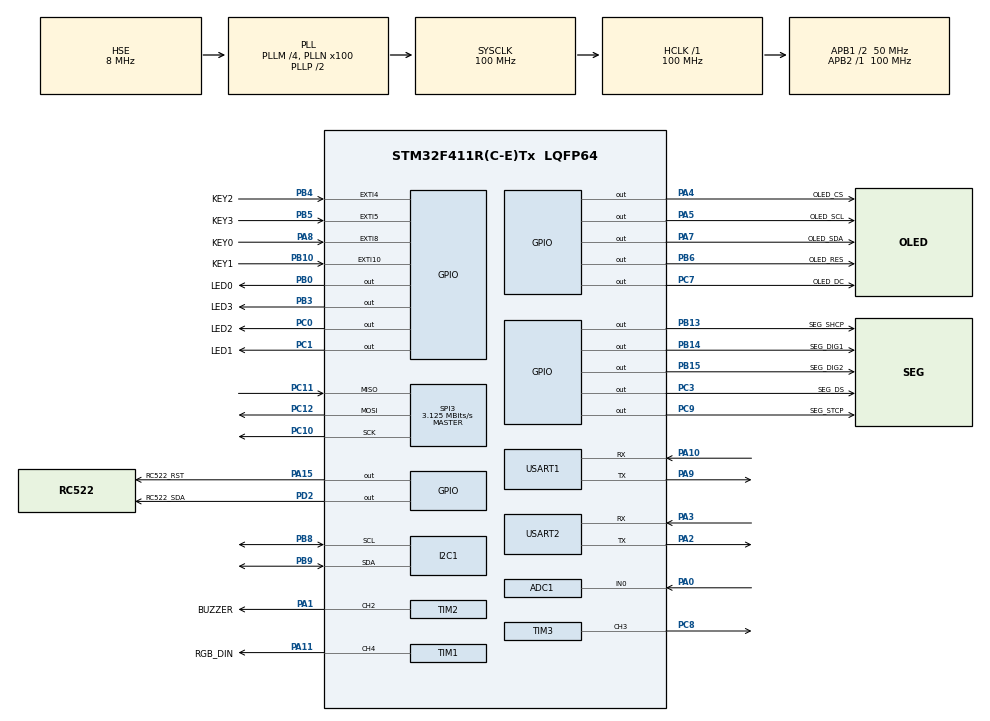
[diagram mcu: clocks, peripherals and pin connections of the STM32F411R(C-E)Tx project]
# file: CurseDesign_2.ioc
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ADC1.Channel-3\#ChannelRegularConversion=ADC_CHANNEL_0
ADC1.ContinuousConvMode=ENABLE
ADC1.DMAContinuousRequests=ENABLE
ADC1.NbrOfConversionFlag=1
ADC1.Rank-3\#ChannelRegularConversion=1
ADC1.SamplingTime-3\#ChannelRegularConversion=ADC_SAMPLETIME_480CYCLES
ADC1.master=1
Dma.ADC1.1.Direction=DMA_PERIPH_TO_MEMORY
Dma.ADC1.1.FIFOMode=DMA_FIFOMODE_DISABLE
Dma.ADC1.1.Instance=DMA2_Stream0
Dma.ADC1.1.MemDataAlignment=DMA_MDATAALIGN_HALFWORD
Dma.ADC1.1.MemInc=DMA_MINC_ENABLE
Dma.ADC1.1.Mode=DMA_CIRCULAR
Dma.ADC1.1.PeriphDataAlignment=DMA_PDATAALIGN_HALFWORD
Dma.ADC1.1.PeriphInc=DMA_PINC_DISABLE
Dma.ADC1.1.Priority=DMA_PRIORITY_LOW
Dma.Request0=TIM1_CH4/TRIG/COM
Dma.Request1=ADC1
Dma.TIM1_CH4/TRIG/COM.0.Direction=DMA_MEMORY_TO_PERIPH
Dma.TIM1_CH4/TRIG/COM.0.FIFOMode=DMA_FIFOMODE_DISABLE
Dma.TIM1_CH4/TRIG/COM.0.Instance=DMA2_Stream4
Dma.TIM1_CH4/TRIG/COM.0.MemDataAlignment=DMA_MDATAALIGN_HALFWORD
Dma.TIM1_CH4/TRIG/COM.0.MemInc=DMA_MINC_ENABLE
Dma.TIM1_CH4/TRIG/COM.0.Mode=DMA_NORMAL
Dma.TIM1_CH4/TRIG/COM.0.PeriphDataAlignment=DMA_PDATAALIGN_HALFWORD
Dma.TIM1_CH4/TRIG/COM.0.PeriphInc=DMA_PINC_DISABLE
Dma.TIM1_CH4/TRIG/COM.0.Priority=DMA_PRIORITY_VERY_HIGH
FREERTOS.Queues01=q_SensorData,5,16,1,Dynamic,NULL,NULL;q_BuzzerData,5,12,1,Dynamic,NULL,NULL;q_ServoCmd,3,uint8_t,0,Dynamic,NULL,NULL;q_RGBCmd,4,8,1,Dynamic,NULL,NULL;q_Keypad,4,1,1,Dynamic,NULL,NULL
FREERTOS.Tasks01=defaultTask,24,128,StartDefaultTask,Default,NULL,Dynamic,NULL,NULL;Task_Sensor,24,256,StartTask_Sensor,Default,NULL,Dynamic,NULL,NULL;Task_OLED,24,256,StartTask_OLED,Default,NULL,Dynamic,NULL,NULL;Task_SEG,24,256,StartTask_SEG,Default,NULL,Dynamic,NULL,NULL;Task_Logic,24,512,StartTask_Logic,Default,NULL,Dynamic,NULL,NULL;Task_Buzzer,24,128,StartTask_Buzzer,Default,NULL,Dynamic,NULL,NULL;Task_Servo,8,128,StartTask_Servo,Default,NULL,Dynamic,NULL,NULL;Task_RGB,8,128,StartTask_RGB,Default,NULL,Dynamic,NULL,NULL
IWDG.Prescaler=IWDG_PRESCALER_64
Mcu.Family=STM32F4
Mcu.Name=STM32F411R(C-E)Tx
Mcu.Package=LQFP64
NVIC.DMA2_Stream0_IRQn=true\:5\:0\:false\:false\:true\:true\:false\:true\:true
NVIC.DMA2_Stream4_IRQn=true\:5\:0\:false\:false\:true\:true\:false\:true\:true
NVIC.EXTI15_10_IRQn=true\:5\:0\:false\:false\:true\:true\:true\:true\:true
NVIC.EXTI4_IRQn=true\:5\:0\:false\:false\:true\:true\:true\:true\:true
NVIC.EXTI9_5_IRQn=true\:5\:0\:false\:false\:true\:true\:true\:true\:true
NVIC.PriorityGroup=NVIC_PRIORITYGROUP_4
NVIC.TIM1_UP_TIM10_IRQn=true\:15\:0\:false\:false\:true\:false\:false\:true\:true
NVIC.TimeBase=TIM1_UP_TIM10_IRQn
NVIC.TimeBaseIP=TIM10
PA0-WKUP.Signal=ADCx_IN0
PA1.GPIO_Label=BUZZER
PA1.Signal=S_TIM2_CH2
PA10.Mode=Asynchronous
PA10.Signal=USART1_RX
PA11.GPIO_Label=RGB_DIN
PA11.GPIO_Speed=GPIO_SPEED_FREQ_VERY_HIGH
PA11.Signal=S_TIM1_CH4
PA13.Mode=Serial_Wire
PA13.Signal=SYS_JTMS-SWDIO
PA14.Mode=Serial_Wire
PA14.Signal=SYS_JTCK-SWCLK
PA15.GPIO_Label=RC522_RST
PA15.PinState=GPIO_PIN_SET
PA15.Signal=GPIO_Output
PA2.Mode=Asynchronous
PA2.Signal=USART2_TX
PA3.Mode=Asynchronous
PA3.Signal=USART2_RX
PA4.GPIO_Label=OLED_CS
PA4.Signal=GPIO_Output
PA5.GPIO_Label=OLED_SCL
PA5.Signal=GPIO_Output
PA7.GPIO_Label=OLED_SDA
PA7.Signal=GPIO_Output
PA8.GPIO_Label=KEY0
PA8.GPIO_ModeDefaultEXTI=GPIO_MODE_IT_FALLING
PA8.Signal=GPXTI8
PA9.Mode=Asynchronous
PA9.Signal=USART1_TX
PB0.GPIO_Label=LED0
PB0.Signal=GPIO_Output
PB10.GPIO_Label=KEY1
PB10.GPIO_ModeDefaultEXTI=GPIO_MODE_IT_FALLING
PB10.Signal=GPXTI10
PB13.GPIO_Label=SEG_SHCP
PB13.Signal=GPIO_Output
PB14.GPIO_Label=SEG_DIG1
PB14.Signal=GPIO_Output
PB15.GPIO_Label=SEG_DIG2
PB15.Signal=GPIO_Output
PB3.GPIO_Label=LED3
PB3.Signal=GPIO_Output
PB4.GPIO_Label=KEY2
PB4.GPIO_ModeDefaultEXTI=GPIO_MODE_IT_FALLING
PB4.Signal=GPXTI4
PB5.GPIO_Label=KEY3
PB5.GPIO_ModeDefaultEXTI=GPIO_MODE_IT_FALLING
PB5.Signal=GPXTI5
PB6.GPIO_Label=OLED_RES
PB6.Signal=GPIO_Output
PB8.Mode=I2C
PB8.Signal=I2C1_SCL
PB9.Mode=I2C
PB9.Signal=I2C1_SDA
PC0.GPIO_Label=LED2
PC0.Signal=GPIO_Output
PC1.GPIO_Label=LED1
PC1.Signal=GPIO_Output
PC10.Mode=Full_Duplex_Master
PC10.Signal=SPI3_SCK
PC11.Mode=Full_Duplex_Master
PC11.Signal=SPI3_MISO
PC12.Mode=Full_Duplex_Master
PC12.Signal=SPI3_MOSI
PC14-OSC32_IN.Mode=LSE-External-Oscillator
PC14-OSC32_IN.Signal=RCC_OSC32_IN
PC15-OSC32_OUT.Mode=LSE-External-Oscillator
PC15-OSC32_OUT.Signal=RCC_OSC32_OUT
PC3.GPIO_Label=SEG_DS
PC3.Signal=GPIO_Output
PC7.GPIO_Label=OLED_DC
PC7.Signal=GPIO_Output
PC8.Signal=S_TIM3_CH3
PC9.GPIO_Label=SEG_STCP
PC9.Signal=GPIO_Output
PD2.GPIO_Label=RC522_SDA
PD2.GPIO_PuPd=GPIO_NOPULL
PD2.GPIO_Speed=GPIO_SPEED_FREQ_HIGH
PD2.PinState=GPIO_PIN_SET
PD2.Signal=GPIO_Output
PH0\ -\ OSC_IN.Mode=HSE-External-Clock-Source
PH0\ -\ OSC_IN.Signal=RCC_OSC_IN
PH1\ -\ OSC_OUT.Mode=HSE-External-Clock-Source
PH1\ -\ OSC_OUT.Signal=RCC_OSC_OUT
ProjectManager.HeapSize=0x200
ProjectManager.StackSize=0x400
ProjectManager.TargetToolchain=CMake
RCC.48MHZClocksFreq_Value=50000000
RCC.AHBFreq_Value=100000000
RCC.APB1CLKDivider=RCC_HCLK_DIV2
RCC.APB1Freq_Value=50000000
RCC.APB1TimFreq_Value=100000000
RCC.APB2Freq_Value=100000000
RCC.APB2TimFreq_Value=100000000
RCC.CortexFreq_Value=100000000
RCC.HCLKFreq_Value=100000000
RCC.HSE_VALUE=8000000
RCC.HSI_VALUE=16000000
RCC.PLLM=4
RCC.PLLN=100
RCC.PLLSourceVirtual=RCC_PLLSOURCE_HSE
RCC.RCC_RTC_Clock_Source=RCC_RTCCLKSOURCE_LSE
RCC.RCC_RTC_Clock_SourceVirtual=RCC_RTCCLKSOURCE_LSE
RCC.SYSCLKFreq_VALUE=100000000
RCC.SYSCLKSource=RCC_SYSCLKSOURCE_PLLCLK
RCC.VCOOutputFreq_Value=200000000
RTC.Format=RTC_FORMAT_BIN
SH.ADCx_IN0.0=ADC1_IN0,IN0
SH.S_TIM1_CH4.0=TIM1_CH4,PWM Generation4 CH4
SH.S_TIM2_CH2.0=TIM2_CH2,PWM Generation2 CH2
SH.S_TIM3_CH3.0=TIM3_CH3,PWM Generation3 CH3
SPI3.BaudRatePrescaler=SPI_BAUDRATEPRESCALER_16
SPI3.CalculateBaudRate=3.125 MBits/s
SPI3.Direction=SPI_DIRECTION_2LINES
SPI3.Mode=SPI_MODE_MASTER
SPI3.VirtualType=VM_MASTER
TIM1.AutoReloadPreload=TIM_AUTORELOAD_PRELOAD_ENABLE
TIM1.Channel-PWM\ Generation4\ CH4=TIM_CHANNEL_4
TIM1.Period=124
TIM2.AutoReloadPreload=TIM_AUTORELOAD_PRELOAD_ENABLE
TIM2.Channel-PWM\ Generation2\ CH2=TIM_CHANNEL_2
TIM2.Period=999
TIM2.Prescaler=99
TIM3.AutoReloadPreload=TIM_AUTORELOAD_PRELOAD_ENABLE
TIM3.Channel-PWM\ Generation3\ CH3=TIM_CHANNEL_3
TIM3.Period=19999
TIM3.Prescaler=99
TIM3.Pulse-PWM\ Generation3\ CH3=0
USART1.VirtualMode=VM_ASYNC
USART2.VirtualMode=VM_ASYNC
VP_CRC_VS_CRC.Mode=CRC_Activate
VP_FREERTOS_VS_CMSIS_V2.Mode=CMSIS_V2
VP_IWDG_VS_IWDG.Mode=IWDG_Activate
VP_RTC_VS_RTC_Activate.Mode=RTC_Enabled
VP_RTC_VS_RTC_Calendar.Mode=RTC_Calendar
VP_SYS_VS_tim10.Mode=TIM10
VP_TIM1_VS_ClockSourceINT.Mode=Internal
VP_TIM2_VS_ClockSourceINT.Mode=Internal
board=custom

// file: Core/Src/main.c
/* USER CODE BEGIN Header */
/**
  ******************************************************************************
  * @file           : main.c
  * @brief          : Main program body
  ******************************************************************************
  * @attention
  *
  * Copyright (c) 2025 STMicroelectronics.
  * All rights reserved.
  *
  * This software is licensed under terms that can be found in the LICENSE file
  * in the root directory of this software component.
  * If no LICENSE file comes with this software, it is provided AS-IS.
  *
  ******************************************************************************
  */
/* USER CODE END Header */
#include "main.h"
#include "cmsis_os.h"
#include "adc.h"
#include "crc.h"
#include "dma.h"
#include "i2c.h"
#include "iwdg.h"
#include "rtc.h"
#include "spi.h"
#include "tim.h"
#include "usart.h"
#include "gpio.h"

/* USER CODE BEGIN Includes */
#include "app_context.h"
#include "buzzer.h"
/* USER CODE END Includes */

/* USER CODE BEGIN PV */
extern osMessageQueueId_t q_KeypadHandle;
/* USER CODE END PV */

void SystemClock_Config(void);
void MX_FREERTOS_Init(void);

int main(void)
{

  /* MCU Configuration--------------------------------------------------------*/

  /* Reset of all peripherals, Initializes the Flash interface and the Systick. */
  HAL_Init();

  /* Configure the system clock */
  SystemClock_Config();

  /* Initialize all configured peripherals */
  MX_GPIO_Init();
  MX_DMA_Init();
  MX_USART2_UART_Init();
  MX_TIM1_Init();
  MX_ADC1_Init();
  MX_I2C1_Init();
  MX_TIM2_Init();
  MX_SPI3_Init();
  MX_TIM3_Init();
  MX_RTC_Init();
  MX_USART1_UART_Init();
  MX_IWDG_Init();
  MX_CRC_Init();

  /* Init scheduler */
  osKernelInitialize();  /* Call init function for freertos objects (in cmsis_os2.c) */
  MX_FREERTOS_Init();

  /* Start scheduler */
  osKernelStart();

  /* We should never get here as control is now taken by the scheduler */

  /* Infinite loop */
  while (1)
  {

  }
}

void SystemClock_Config(void)
{
  RCC_OscInitTypeDef RCC_OscInitStruct = {0};
  RCC_ClkInitTypeDef RCC_ClkInitStruct = {0};

  /** Configure the main internal regulator output voltage
  */
  __HAL_RCC_PWR_CLK_ENABLE();
  __HAL_PWR_VOLTAGESCALING_CONFIG(PWR_REGULATOR_VOLTAGE_SCALE1);

  /** Initializes the RCC Oscillators according to the specified parameters
  * in the RCC_OscInitTypeDef structure.
  */
  RCC_OscInitStruct.OscillatorType = RCC_OSCILLATORTYPE_LSI|RCC_OSCILLATORTYPE_HSE
                              |RCC_OSCILLATORTYPE_LSE;
  RCC_OscInitStruct.HSEState = RCC_HSE_BYPASS;
  RCC_OscInitStruct.LSEState = RCC_LSE_ON;
  RCC_OscInitStruct.LSIState = RCC_LSI_ON;
  RCC_OscInitStruct.PLL.PLLState = RCC_PLL_ON;
  RCC_OscInitStruct.PLL.PLLSource = RCC_PLLSOURCE_HSE;
  RCC_OscInitStruct.PLL.PLLM = 4;
  RCC_OscInitStruct.PLL.PLLN = 100;
  RCC_OscInitStruct.PLL.PLLP = RCC_PLLP_DIV2;
  RCC_OscInitStruct.PLL.PLLQ = 4;
  if (HAL_RCC_OscConfig(&RCC_OscInitStruct) != HAL_OK)
  {
    Error_Handler();
  }

  /** Initializes the CPU, AHB and APB buses clocks
  */
  RCC_ClkInitStruct.ClockType = RCC_CLOCKTYPE_HCLK|RCC_CLOCKTYPE_SYSCLK
                              |RCC_CLOCKTYPE_PCLK1|RCC_CLOCKTYPE_PCLK2;
  RCC_ClkInitStruct.SYSCLKSource = RCC_SYSCLKSOURCE_PLLCLK;
  RCC_ClkInitStruct.AHBCLKDivider = RCC_SYSCLK_DIV1;
  RCC_ClkInitStruct.APB1CLKDivider = RCC_HCLK_DIV2;
  RCC_ClkInitStruct.APB2CLKDivider = RCC_HCLK_DIV1;

  if (HAL_RCC_ClockConfig(&RCC_ClkInitStruct, FLASH_LATENCY_3) != HAL_OK)
  {
    Error_Handler();
  }
}

/* USER CODE BEGIN 4 */
// 重定向printf
int __io_putchar(int ch) {
  HAL_UART_Transmit(&huart2, (uint8_t *)&ch, 1, HAL_MAX_DELAY);
  return ch;
}

// 可选：重定向scanf
int __io_getchar(void) {
  uint8_t ch = 0;
  HAL_UART_Receive(&huart2, &ch, 1, HAL_MAX_DELAY);
  return ch;
}

/* 这里的逻辑是：按键一按，产生中断，中断里只干一件事——释放信号量 */
void HAL_GPIO_EXTI_Callback(uint16_t GPIO_Pin)
{
  uint8_t key_id = 0xFF; // 无效值

  Buzzer_Send_Cmd(BUZZER_MODE_SINGLE, 500, DEFAULT_SOUND, 100, 0);

  // 判断是哪个引脚触发了中断
  // 注意：这里需要根据你实际的 CubeMX 引脚定义来修改 Pin 的名字
  if (GPIO_Pin == KEY0_Pin) {
    key_id = 0;
  } else if (GPIO_Pin == KEY1_Pin) {
    key_id = 1;
  } else if (GPIO_Pin == KEY2_Pin) {
    key_id = 2;
  } else if (GPIO_Pin == KEY3_Pin) {
    key_id = 3;
  }

  // 如果是有效的按键，发送到队列
  if (key_id != 0xFF && q_KeypadHandle != NULL)
  {
    // 在中断里发送，必须使用 FromISR 版本，且 timeout 必须为 0
    osMessageQueuePut(q_KeypadHandle, &key_id, 0, 0);
  }
}
/* USER CODE END 4 */

void HAL_TIM_PeriodElapsedCallback(TIM_HandleTypeDef *htim)
{
  if (htim->Instance == TIM10)
  {
    HAL_IncTick();
  }
}

void Error_Handler(void)
{
  __disable_irq();
  while (1)
  {
  }
}

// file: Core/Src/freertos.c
/* USER CODE BEGIN Header */
/**
  ******************************************************************************
  * File Name          : freertos.c
  * Description        : Code for freertos applications
  ******************************************************************************
  */
/* USER CODE END Header */

#include "FreeRTOS.h"
#include "task.h"
#include "main.h"
#include "cmsis_os.h"

/* USER CODE BEGIN Includes */
#include "stdio.h"
#include "adc_bsp.h"
#include "lm75.h"
#include "i2c.h"
#include "oled.h"
#include "BSP_LED_SEG.h"
#include "buzzer.h"
#include "app_context.h"
#include "rc522.h"
#include "servo.h"
#include "string.h"
#include "ws2812.h"
#include "rtc_user.h"
#include "global.h"
#include "vtx316.h"
#include "iwdg.h"
#include "app_context.h"
#include "flash_storage.h"
/* USER CODE END Includes */

/* USER CODE BEGIN PD */

//RGB各个模式的灯光亮度在key.h里

/* USER CODE END PD */

/* USER CODE BEGIN Variables */
/* 定义一个结构体，这就是我们要传输的“包裹” */
typedef struct {
  float temperature;  // 温度
  uint16_t adc_value; // 电位器值
  uint8_t key_status; // 按键状态
} SensorMsg_t;
// 【新增】定义一个全局变量，用于数码管显示温度
float g_DisplayTemp = 0.0f;
/* USER CODE END Variables */
/* Definitions for defaultTask */
osThreadId_t defaultTaskHandle;
const osThreadAttr_t defaultTask_attributes = {
  .name = "defaultTask",
  .stack_size = 128 * 4,
  .priority = (osPriority_t) osPriorityNormal,
};
/* Definitions for Task_Sensor */
osThreadId_t Task_SensorHandle;
const osThreadAttr_t Task_Sensor_attributes = {
  .name = "Task_Sensor",
  .stack_size = 256 * 4,
  .priority = (osPriority_t) osPriorityNormal,
};
/* Definitions for Task_OLED */
osThreadId_t Task_OLEDHandle;
const osThreadAttr_t Task_OLED_attributes = {
  .name = "Task_OLED",
  .stack_size = 256 * 4,
  .priority = (osPriority_t) osPriorityNormal,
};
/* Definitions for Task_SEG */
osThreadId_t Task_SEGHandle;
const osThreadAttr_t Task_SEG_attributes = {
  .name = "Task_SEG",
  .stack_size = 256 * 4,
  .priority = (osPriority_t) osPriorityNormal,
};
/* Definitions for Task_Logic */
osThreadId_t Task_LogicHandle;
const osThreadAttr_t Task_Logic_attributes = {
  .name = "Task_Logic",
  .stack_size = 512 * 4,
  .priority = (osPriority_t) osPriorityNormal,
};
/* Definitions for Task_Buzzer */
osThreadId_t Task_BuzzerHandle;
const osThreadAttr_t Task_Buzzer_attributes = {
  .name = "Task_Buzzer",
  .stack_size = 128 * 4,
  .priority = (osPriority_t) osPriorityNormal,
};
/* Definitions for Task_Servo */
osThreadId_t Task_ServoHandle;
const osThreadAttr_t Task_Servo_attributes = {
  .name = "Task_Servo",
  .stack_size = 128 * 4,
  .priority = (osPriority_t) osPriorityLow,
};
/* Definitions for Task_RGB */
osThreadId_t Task_RGBHandle;
const osThreadAttr_t Task_RGB_attributes = {
  .name = "Task_RGB",
  .stack_size = 128 * 4,
  .priority = (osPriority_t) osPriorityLow,
};
/* Definitions for q_SensorData */
osMessageQueueId_t q_SensorDataHandle;
const osMessageQueueAttr_t q_SensorData_attributes = {
  .name = "q_SensorData"
};
/* Definitions for q_BuzzerData */
osMessageQueueId_t q_BuzzerDataHandle;
const osMessageQueueAttr_t q_BuzzerData_attributes = {
  .name = "q_BuzzerData"
};
/* Definitions for q_ServoCmd */
osMessageQueueId_t q_ServoCmdHandle;
const osMessageQueueAttr_t q_ServoCmd_attributes = {
  .name = "q_ServoCmd"
};
/* Definitions for q_RGBCmd */
osMessageQueueId_t q_RGBCmdHandle;
const osMessageQueueAttr_t q_RGBCmd_attributes = {
  .name = "q_RGBCmd"
};
/* Definitions for q_Keypad */
osMessageQueueId_t q_KeypadHandle;
const osMessageQueueAttr_t q_Keypad_attributes = {
  .name = "q_Keypad"
};

void StartDefaultTask(void *argument);
void StartTask_Sensor(void *argument);
void StartTask_OLED(void *argument);
void StartTask_SEG(void *argument);
void StartTask_Logic(void *argument);
void StartTask_Buzzer(void *argument);
void StartTask_Servo(void *argument);
void StartTask_RGB(void *argument);

void MX_FREERTOS_Init(void); /* (MISRA C 2004 rule 8.1) */

void MX_FREERTOS_Init(void) {

  /* Create the queue(s) */
  /* creation of q_SensorData */
  q_SensorDataHandle = osMessageQueueNew (5, 16, &q_SensorData_attributes);

  /* creation of q_BuzzerData */
  q_BuzzerDataHandle = osMessageQueueNew (5, 12, &q_BuzzerData_attributes);

  /* creation of q_ServoCmd */
  q_ServoCmdHandle = osMessageQueueNew (3, sizeof(uint8_t), &q_ServoCmd_attributes);

  /* creation of q_RGBCmd */
  q_RGBCmdHandle = osMessageQueueNew (4, 8, &q_RGBCmd_attributes);

  /* creation of q_Keypad */
  q_KeypadHandle = osMessageQueueNew (4, 1, &q_Keypad_attributes);

  /* Create the thread(s) */
  /* creation of defaultTask */
  defaultTaskHandle = osThreadNew(StartDefaultTask, NULL, &defaultTask_attributes);

  /* creation of Task_Sensor */
  Task_SensorHandle = osThreadNew(StartTask_Sensor, NULL, &Task_Sensor_attributes);

  /* creation of Task_OLED */
  Task_OLEDHandle = osThreadNew(StartTask_OLED, NULL, &Task_OLED_attributes);

  /* creation of Task_SEG */
  Task_SEGHandle = osThreadNew(StartTask_SEG, NULL, &Task_SEG_attributes);

  /* creation of Task_Logic */
  Task_LogicHandle = osThreadNew(StartTask_Logic, NULL, &Task_Logic_attributes);

  /* creation of Task_Buzzer */
  Task_BuzzerHandle = osThreadNew(StartTask_Buzzer, NULL, &Task_Buzzer_attributes);

  /* creation of Task_Servo */
  Task_ServoHandle = osThreadNew(StartTask_Servo, NULL, &Task_Servo_attributes);

  /* creation of Task_RGB */
  Task_RGBHandle = osThreadNew(StartTask_RGB, NULL, &Task_RGB_attributes);

}

void StartDefaultTask(void *argument)
{
  /* USER CODE BEGIN StartDefaultTask */

  // 1. 硬件初始化
  VTX316_Init(&huart1);
  Key_App_Init(); // 这里会先加载默认值 (例如 23:00:00)

  // 2. 尝试从Flash加载用户设置
  // 必须放在 Key_App_Init 之后，以便覆盖默认值
  Flash_Load_Settings();

  // 3. 开机提示音和灯光
  Buzzer_Send_Cmd(BUZZER_MODE_SINGLE,523, START_SOUND, 100, 0);
  Buzzer_Send_Cmd(BUZZER_MODE_SINGLE,587, START_SOUND, 100, 0);
  Buzzer_Send_Cmd(BUZZER_MODE_SINGLE,659, START_SOUND, 100, 0);
  osDelay(500);

  WS2812_Send_Cmd(RGB_MODE_BREATHING, 0, LED_BRIGHTNESS_BREATH, 0, 0);

  VTX316_SetStyle(1, 5, VTX_ROLE_FEMALE_1);
  osDelay(100);
  VTX316_Speak("开机");

  printf("\r\n================================\r\n");
  printf("   Smart Medicine Box System    \r\n");
  printf("================================\r\n");

  /* Infinite loop */
  for(;;)
  {
    osDelay(1000);
  }
  /* USER CODE END StartDefaultTask */
}

void StartTask_Sensor(void *argument)
{
  /* USER CODE BEGIN StartTask_Sensor */
  BSP_ADC_Init();
  LM75_Init(&hi2c1);
  RC522_Init();

  uint8_t time_count = 0;

  // 【新增】定义合法的卡号 (61-BE-D0-17)
  // 注意：RC522读出的卡号通常是16进制，请确保顺序正确
  uint8_t Authorized_UID[4] = {0x61, 0xBE, 0xD0, 0x17};

  /* Infinite loop */
  for(;;)
  {
    // ==========================================
    // 第一部分：高频任务 (RFID 检测)
    // ==========================================
    uint8_t status;
    uint8_t str[MAXRLEN];

    // 【修复1】必须定义为 5 字节！防止内存溢出导致 A5 乱码
    uint8_t card_id[5];

    // 【修复2】每次清零，防止显示历史残留数据
    memset(card_id, 0, 5);

    status = PcdRequest(PICC_REQALL, str);
    if (status == MI_OK)
    {
      // 这里的 PcdAnticoll 会写满 5 个字节 (4 UID + 1 BCC)
      status = PcdAnticoll(card_id);

      if (status == MI_OK)
      {
        printf(">>> [RFID] UID: %02X-%02X-%02X-%02X <<<\r\n",
               card_id[0], card_id[1], card_id[2], card_id[3]);

        // 1. 刷卡提示音
        Buzzer_Send_Cmd(BUZZER_MODE_SINGLE, 2000, CARD_SOUND, 100, 0);
        osDelay(100);

        // 2. 比对卡号 (只比对前4位)
        if (card_id[0] == Authorized_UID[0] &&
            card_id[1] == Authorized_UID[1] &&
            card_id[2] == Authorized_UID[2] &&
            card_id[3] == Authorized_UID[3])
        {
          printf(">>> [RFID] Correct! Permission Granted. <<<\r\n");
          VTX316_Speak("读卡成功");

          // 【关键】只给权限，不开箱。开箱由 Key0 决定
          g_App.is_rfid_passed = 1;

          // 绿灯闪烁提示成功
          WS2812_Send_Cmd(RGB_MODE_BLINK, 0, 30, 0, 500);
          osDelay(500);
          WS2812_Send_Cmd(RGB_MODE_BREATHING, 0, LED_BRIGHTNESS_BREATH, 0, 0);
        }
        else
        {
          printf(">>> [RFID] Wrong Card! <<<\r\n");
          // 错卡不撤销权限，只报错 (防止误触)
          // 红灯闪烁提示失败
          WS2812_Send_Cmd(RGB_MODE_BLINK, 30, 0, 0, 500);
          osDelay(500);
          WS2812_Send_Cmd(RGB_MODE_BREATHING, 0, LED_BRIGHTNESS_BREATH, 0, 0);
          VTX316_Speak("错误");
        }
      }
      osDelay(500); // 读卡防抖
    }

    // ==========================================
    // 第二部分：低频任务 (温度/ADC)
    // ==========================================
    time_count++;
    if (time_count >= 10) // 1000ms
    {
      time_count = 0;

      SensorMsg_t msg;
      msg.temperature = LM75_Read();
      msg.adc_value = ADC_Read();

      // 【调试】打印采集到的传感器数据
      // printf("[SENSOR] Temp: %.2f C, ADC: %d\r\n", msg.temperature, msg.adc_value);

      osMessageQueuePut(q_SensorDataHandle, &msg, 0, 0);
    }

    osDelay(100);
  }
  /* USER CODE END StartTask_Sensor */
}

void StartTask_OLED(void *argument)
{
  /* USER CODE BEGIN StartTask_OLED */
  osDelay(50);
  OLED_Init();
  OLED_Clear();

  char str_buf[20];
  uint8_t h, m, s;

  /* Infinite loop */
  for(;;)
  {
    if (g_App.current_state == SYS_NORMAL)
    {
        RTC_Get_Time(&h, &m, &s);
        OLED_ShowString(0, 1, "Box: Monitor    ", 16, 1);
        sprintf(str_buf, "[ %02d:%02d:%02d ]", h, m, s);
        OLED_ShowString(16, 16, (uint8_t *)str_buf, 16, 1);

        // if(g_App.is_bluetooth_on)
        //     OLED_ShowString(0, 32, "BT: ON          ", 12, 1);
        // else
        //     OLED_ShowString(0, 32, "BT: OFF         ", 12, 1);

        OLED_ShowString(0, 42, "S-K3:Set TIM3   ", 12, 1); // 提示用户单机进入
        OLED_ShowString(0, 52, "L-K3:Set Alarm  ", 12, 1); // 提示用户长按进入
    }
    else if (g_App.current_state == SYS_SETTING_TIME)
    {
        OLED_ShowString(0, 0, ">> SET TIME <<  ", 16, 1);
        sprintf(str_buf, "[ %02d:%02d:%02d ]", g_App.edit_hour, g_App.edit_min, g_App.edit_sec);
        OLED_ShowString(16, 16, (uint8_t *)str_buf, 16, 1);
        OLED_ShowString(0, 32, "Hr+ Mn+ Sc+ (K3)", 12, 1);
        OLED_ShowString(0, 48, "K0  K1  K2  SAVE", 12, 1);
    }
    // 【新增】闹钟设置界面
    else if (g_App.current_state == SYS_SETTING_ALARM)
    {
      // 获取当前正在编辑的闹钟数据
      uint8_t idx = g_App.current_alarm_index;
      AlarmTime_t *pAlarm = &g_App.alarms[idx];

      // 显示标题：Alarm 1/3, Alarm 2/3...
      sprintf(str_buf, ">> SET ALARM %d <<", idx + 1);
      OLED_ShowString(0, 0, (uint8_t *)str_buf, 16, 1);

      // 显示当前闹钟时间
      sprintf(str_buf, "[ %02d:%02d:%02d ]", pAlarm->hour, pAlarm->min, pAlarm->sec);
      OLED_ShowString(16, 16, (uint8_t *)str_buf, 16, 1);

      // 显示操作提示
      OLED_ShowString(0, 32, "K0/1/2: H/M/S+  ", 12, 1);
      OLED_ShowString(0, 48, "S:Next L:Exit   ", 12, 1); // 短按切换，长按退出
    }

    OLED_Refresh();
    osDelay(30);
  }
  /* USER CODE END StartTask_OLED */
}

void StartTask_SEG(void *argument)
{
  /* USER CODE BEGIN StartTask_SEG */
  int temp_integer = 0;
  /* Infinite loop */
  for(;;)
  {
    // 1. 获取温度的整数部分
    temp_integer = (int)g_DisplayTemp;

    // 2. 限制显示范围 (例如 0-99)，防止数码管乱码
    if(temp_integer > 99) temp_integer = 99;
    if(temp_integer < 0)  temp_integer = 0;

    // 3. 显示
    // 假设 ShowNum 的第一个参数是数值，第二个参数是填充/格式(根据你之前的代码填了2)
    BSP_LEDSEG_ShowNum(temp_integer / 10, temp_integer % 10);

    osDelay(5); // 保持刷新频率
  }
  /* USER CODE END StartTask_SEG */
}

void StartTask_Logic(void *argument)
{
  /* USER CODE BEGIN StartTask_Logic */
  // 1. 初始化检查：如果掉电过，重置为 12:00:00
  RTC_Check_And_Init();

  SensorMsg_t received_msg;
  osStatus_t status;

  // 【修改】删除原来的固定闹钟变量 alarm_h/m/s
  // uint8_t alarm_h = 12; ... (已删除)

  uint8_t curr_h, curr_m, curr_s;
  uint8_t last_s = 255;
  uint8_t key_id;

  // 报警状态标志位 (0=正常, 1=正在报警)
  uint8_t is_temp_alarm = 0;
  uint8_t is_drug_alarm = 0;

  /* Infinite loop */
  for(;;)
  {
    // ==========================================
    // 动作：喂狗 (Refresh Watchdog)
    // ==========================================
    // 告诉看门狗：“我还活着，不要重启我！”
    HAL_IWDG_Refresh(&hiwdg);

    // ========================================================
    // 1. RTC 闹钟逻辑 (多闹钟遍历)
    // ========================================================
    RTC_Get_Time(&curr_h, &curr_m, &curr_s);

    // 每一秒只检测一次，避免一秒内多次触发
    if (curr_s != last_s)
    {
      // 【调试代码】每秒打印一次当前时间和第一个闹钟的状态
      // printf("Time:%02d:%02d:%02d | Alarm0:%02d:%02d:%02d [En:%d]\r\n",
      //        curr_h, curr_m, curr_s,
      //        g_App.alarms[0].hour, g_App.alarms[0].min, g_App.alarms[0].sec,
      //        g_App.alarms[0].enable);

      last_s = curr_s;
      if (g_App.current_state == SYS_NORMAL)
      {
        for(int i = 0; i < 3; i++) // 假设 MAX_ALARMS 为 3
        {
          // 检查：开启 && 时间匹配
          if (g_App.alarms[i].enable &&  // 记得加上 .enable 判断
              curr_h == g_App.alarms[i].hour &&
              curr_m == g_App.alarms[i].min  &&
              curr_s == g_App.alarms[i].sec)
          {
            printf(">>> [LOGIC] ALARM [%d] TRIGGERED! <<<\r\n", i+1);
            VTX316_Speak("请吃药");

            // 【关键修改】设置响铃标志位，告诉系统现在闹钟在响
            g_App.is_ringing = 1;

            // 闹钟音效
            Buzzer_Send_Cmd(BUZZER_MODE_LOOP, 1000, CLOCK_SOUND,  200, 300);
            // 灯光闪烁
            WS2812_Send_Cmd(RGB_MODE_BLINK, 32, 14, 0, 300);
          }
        }
      }
    }

    // ========================================================
    // 2. 传感器数据处理 (保持不变)
    // ========================================================
    status = osMessageQueueGet(q_SensorDataHandle, &received_msg, NULL, 0);

    if (status == osOK)
    {
      g_DisplayTemp = received_msg.temperature;

      // --------------------------------------------------------
      // A. 温度报警逻辑
      // --------------------------------------------------------
      if (received_msg.temperature >= TEMP_LIMIT)
      {
        if (is_temp_alarm == 0)
        {
          printf(">>> [LOGIC] ALERT: Temp High! %.1f C\r\n", received_msg.temperature);
          Buzzer_Send_Cmd(BUZZER_MODE_LOOP, 2000, ALARM_SOUND, 100, 100);
          WS2812_Send_Cmd(RGB_MODE_BLINK, 100, 0, 0, 200);
          is_temp_alarm = 1;
          VTX316_Speak("温度过高");
        }
      }
      else // 温度正常
      {
        if (is_temp_alarm == 1)
        {
          is_temp_alarm = 0;
          // 【关键修改】增加 && g_App.is_ringing == 0
          // 只有当药量正常，且【闹钟没在响】的时候，才关声音
          if (is_drug_alarm == 0 && g_App.is_ringing == 0) {
            Buzzer_Send_Cmd(BUZZER_MODE_OFF, 0, 0, 0, 0);
            WS2812_Send_Cmd(RGB_MODE_BREATHING, 0, LED_BRIGHTNESS_BREATH, 0, 0);
          }
          else if (is_drug_alarm == 1){
            // 恢复为药量报警状态
            Buzzer_Send_Cmd(BUZZER_MODE_LOOP, 500, ALARM_SOUND, 500, 500);
            WS2812_Send_Cmd(RGB_MODE_BLINK, 0, 0, 100, 500);
          }
        }
      }

      // --------------------------------------------------------
      // B. 缺药报警逻辑
      // --------------------------------------------------------
      if (received_msg.adc_value < VOL_LIMIT)
      {
        if (is_drug_alarm == 0)
        {
          printf(">>> [LOGIC] ALERT: Low Drug Level! (ADC: %d)\r\n", received_msg.adc_value);
          // 如果没有高温报警，才开启缺药报警（高温优先级更高）
          if (is_temp_alarm == 0) {
            Buzzer_Send_Cmd(BUZZER_MODE_LOOP, 500, ALARM_SOUND, 500, 500);
            WS2812_Send_Cmd(RGB_MODE_BLINK, 0, 0, 100, 500);
            VTX316_Speak("药量低");
          }
          is_drug_alarm = 1;
        }
      }
      else // 药量正常
      {
        if (is_drug_alarm == 1)
        {
          is_drug_alarm = 0;
          // 【关键修改】增加 && g_App.is_ringing == 0
          // 只有当温度正常，且【闹钟没在响】的时候，才关声音
          if (is_temp_alarm == 0 && g_App.is_ringing == 0) {
            Buzzer_Send_Cmd(BUZZER_MODE_OFF, 0, 0, 0, 0);
            WS2812_Send_Cmd(RGB_MODE_BREATHING, 0, LED_BRIGHTNESS_BREATH, 0, 0);
          }
          else if (is_temp_alarm == 1) {
            // 恢复回高温报警
            Buzzer_Send_Cmd(BUZZER_MODE_LOOP, 2000, ALARM_SOUND, 100, 100);
            WS2812_Send_Cmd(RGB_MODE_BLINK, 100, 0, 0, 200);
          }
        }
      }
    }

    // ========================================================
    // 3. 按键处理
    // ========================================================
    if (osMessageQueueGet(q_KeypadHandle, &key_id, NULL, 0) == osOK)
    {
      // 这里的逻辑主要是处理按键事件，具体执行在 key.c 中
      // 但 key.c 中已经写了 Handle_Key1 -> Buzzer_OFF，
      // 所以如果闹钟响了，用户按 Key1 就会停止闹钟，完美闭环。
      Key_Process_Event(key_id);
    }

    osDelay(10);
  }
  /* USER CODE END StartTask_Logic */
}

void StartTask_Buzzer(void *argument)
{
  /* USER CODE BEGIN StartTask_Buzzer */
  Buzzer_Init();

  BuzzerCmd_t current_cmd = {BUZZER_MODE_OFF, 0, 0, 0, 0};
  BuzzerCmd_t new_cmd;
  osStatus_t status;

  /* Infinite loop */
  for(;;)
  {
    // 1. 获取指令
    // 如果是 LOOP 模式，只等待 10ms，以便循环执行
    // 如果是 OFF 模式，永久等待(WaitForever)，不耗 CPU
    uint32_t wait_time = (current_cmd.mode == BUZZER_MODE_LOOP) ? 10 : osWaitForever;

    status = osMessageQueueGet(q_BuzzerDataHandle, &new_cmd, NULL, wait_time);

    if (status == osOK) {
      current_cmd = new_cmd; // 有新指令，覆盖旧状态
    }

    // 2. 执行状态机
    switch (current_cmd.mode)
    {
    case BUZZER_MODE_SINGLE:
      // [单次模式] 响 -> 延时 -> 停 -> 自动切回OFF
      Buzzer_Beep(current_cmd.frequency, current_cmd.volume);
      osDelay(current_cmd.duration_on);
      Buzzer_Stop();
      current_cmd.mode = BUZZER_MODE_OFF; // 执行完就自行结束
      break;

    case BUZZER_MODE_LOOP:
      // [循环模式] 响 -> 延时 -> 停 -> 延时 -> (继续循环)
      Buzzer_Beep(current_cmd.frequency, current_cmd.volume);
      osDelay(current_cmd.duration_on);

      Buzzer_Stop();
      osDelay(current_cmd.duration_off);
      break;

    case BUZZER_MODE_OFF:
    default:
      Buzzer_Stop();
      // OFF模式下，会在上面的 osMessageQueueGet 处阻塞挂起
      break;
    }
  }
  /* USER CODE END StartTask_Buzzer */
}

void StartTask_Servo(void *argument)
{
  /* USER CODE BEGIN StartTask_Servo */
  uint8_t cmd;
  osStatus_t status;

  Servo_Init();

  /* Infinite loop */
  for(;;)
  {
    status = osMessageQueueGet(q_ServoCmdHandle, &cmd, NULL, osWaitForever);

    if (status == osOK)
    {
      if (cmd == SERVO_CMD_OPEN)
      {
        printf(">>> [SERVO] Action: OPEN Box\r\n");
        Servo_SetAngle(90);
      }
      else if (cmd == SERVO_CMD_CLOSE)
      {
        printf(">>> [SERVO] Action: Force CLOSE\r\n");
        Servo_SetAngle(0);
      }
    }
    osDelay(10);
  }
  /* USER CODE END StartTask_Servo */
}

void StartTask_RGB(void *argument)
{
  /* USER CODE BEGIN StartTask_RGB */
  WS2812_Init();

  RGBCmd_t current_cmd = {RGB_MODE_OFF, 0, 0, 0, 0};
  RGBCmd_t new_cmd;
  osStatus_t status;

  int16_t breath_brightness = 0;
  int8_t breath_dir = 5;

  /* Infinite loop */
  for(;;)
  {
    status = osMessageQueueGet(q_RGBCmdHandle, &new_cmd, NULL, 10);

    if (status == osOK)
    {
      current_cmd = new_cmd;
      if (current_cmd.mode == RGB_MODE_BREATHING) {
        breath_brightness = 0;
        breath_dir = 5;
      }
    }

    switch (current_cmd.mode)
    {
      case RGB_MODE_STATIC:
        WS2812_SetAll(current_cmd.R, current_cmd.G, current_cmd.B);
        WS2812_Show();
        osDelay(100);
        break;

      case RGB_MODE_BLINK:
        WS2812_SetAll(current_cmd.R, current_cmd.G, current_cmd.B);
        WS2812_Show();
        osDelay(current_cmd.duration);
        WS2812_SetAll(0, 0, 0);
        WS2812_Show();
        osDelay(current_cmd.duration);
        break;

      case RGB_MODE_BREATHING:
        breath_brightness += breath_dir;
        if (breath_brightness >= current_cmd.G) { // 使用G作为最大亮度限制(Hack)
            breath_brightness = current_cmd.G;
            breath_dir = -1;
        }
        if (breath_brightness <= 0) {
            breath_brightness = 0;
            breath_dir = 1;
        }

        // 简单实现：只呼吸绿色通道，如果需要全彩呼吸需要更复杂算法
        // 这里假设传入的是 G 通道有值
        WS2812_SetAll(0, breath_brightness, 0);
        WS2812_Show();
        osDelay(20);
        break;

      case RGB_MODE_OFF:
      default:
        WS2812_SetAll(0, 0, 0);
        WS2812_Show();
        osDelay(500);
        break;
    }
  }
  /* USER CODE END StartTask_RGB */
}
